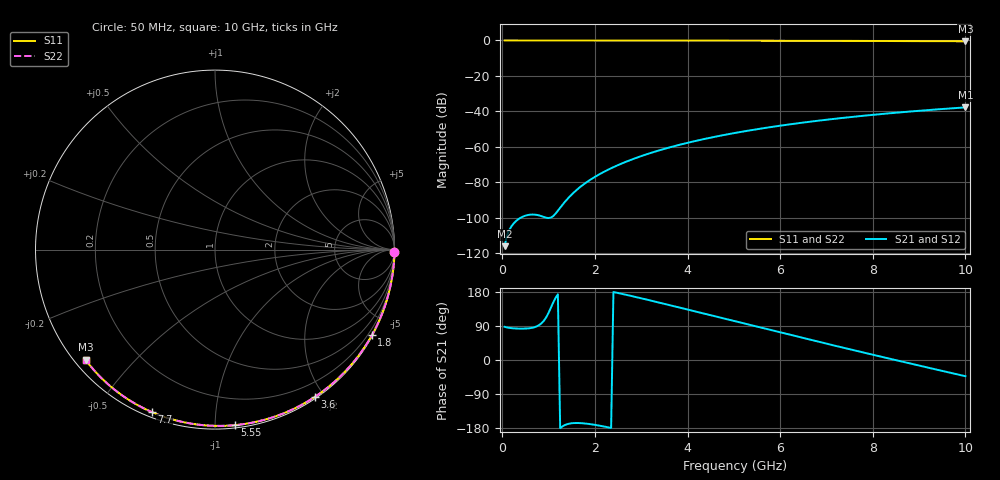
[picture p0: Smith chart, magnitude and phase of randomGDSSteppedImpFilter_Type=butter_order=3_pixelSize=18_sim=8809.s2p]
! freq	dB(S11)	phase(S11)	dB(S12)	phase(S12)
!  dB(S21)	phase(S21)	dB(S22)	phase(S22)
!S-par simulation data
#  GHz  S  DB  R 50
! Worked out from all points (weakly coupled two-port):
!   200 points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, 50 MHz to 10 GHz, reference 50 ohm
!   highest |S21| = -37.77 dB at 10 GHz (marker M1); lowest = -116.1 dB at 50 MHz (marker M2)
!   lowest |S11| = -0.5 dB at 10 GHz (marker M3), VSWR 36.81, Z = 1.54 - j18.4 ohm
!   |S11| at or under -10 dB: nowhere
!   |S22| runs from -0.5 to 0.0 dB; largest |S21 - S12| = 0
!   S11 on the Smith chart (normalised r, x): 50 MHz: open; 1.8 GHz: 0.03, -3.92; 3.6 GHz: 0.02, -1.88; 5.55 GHz: 0.02, -1.12; 7.7 GHz: 0.02, -0.68; 10 GHz: 0.03, -0.37
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0.05  -0.00 -0.8  -116.10 87.7  -116.10 87.7  -0.00 -0.8
0.45  -0.01 -7.3  -99.36 82.8  -99.36 82.8  -0.01 -7.3
0.9  -0.02 -14.5  -99.65 103.9  -99.65 103.9  -0.02 -14.5
1.75  -0.04 -27.9  -81.34 -167.1  -81.34 -167.1  -0.04 -27.9
1.8  -0.04 -28.6  -80.39 -167.7  -80.39 -167.7  -0.04 -28.6
1.85  -0.04 -29.4  -79.49 -168.5  -79.49 -168.5  -0.04 -29.4
2.05  -0.04 -32.5  -76.22 -172.2  -76.22 -172.2  -0.04 -32.5
2.2  -0.04 -34.8  -74.08 -175.6  -74.08 -175.6  -0.04 -34.8
2.55  -0.05 -40.2  -69.76 175.5  -69.76 175.5  -0.05 -40.2
2.95  -0.06 -46.3  -65.72 164.3  -65.72 164.3  -0.06 -46.3
3.4  -0.07 -53.0  -61.93 151.1  -61.93 151.1  -0.07 -53.0
3.6  -0.08 -55.9  -60.45 145.2  -60.45 145.2  -0.08 -55.9
3.9  -0.08 -60.3  -58.40 136.2  -58.40 136.2  -0.08 -60.3
4.3  -0.09 -66.1  -55.97 124.1  -55.97 124.1  -0.09 -66.1
5.05  -0.12 -76.6  -52.08 101.4  -52.08 101.4  -0.12 -76.6
5.55  -0.14 -83.4  -49.88 86.3  -49.88 86.3  -0.14 -83.4
6.1  -0.16 -90.8  -47.74 69.8  -47.74 69.8  -0.16 -90.8
6.7  -0.19 -98.6  -45.68 51.9  -45.68 51.9  -0.19 -98.6
7.7  -0.25 -111.4  -42.75 22.6  -42.75 22.6  -0.25 -111.4
8.35  -0.31 -119.4  -41.13 3.8  -41.13 3.8  -0.31 -119.4
9.2  -0.38 -129.9  -39.28 -20.3  -39.28 -20.3  -0.38 -129.9
10  -0.47 -139.6  -37.77 -42.8  -37.77 -42.8  -0.47 -139.6
